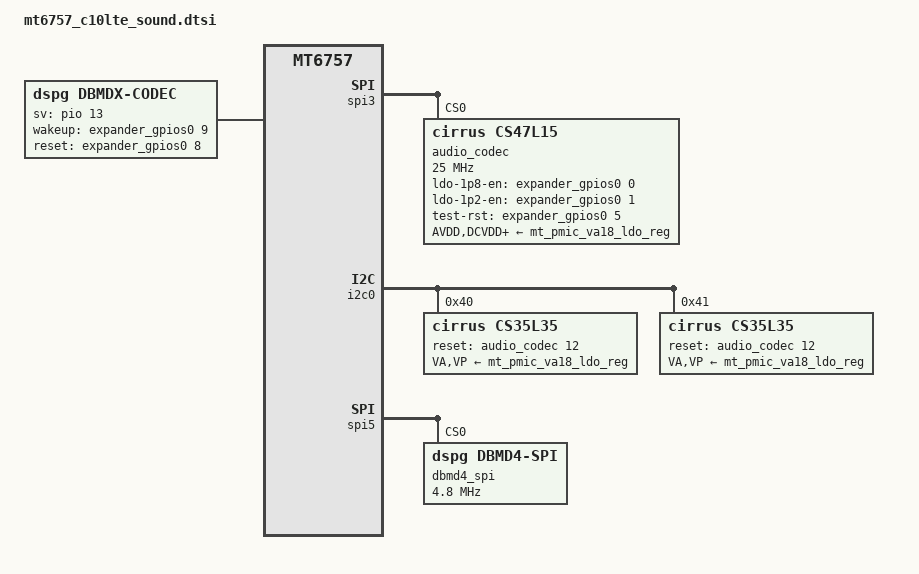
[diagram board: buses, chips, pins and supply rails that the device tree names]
/*
* Cirrus-CS47L15 Sound Card Device Tree Source
*
* Copyright (c) 2016 Cirrus Logic .
*		https://www.cirrus.com
*
* This program is free software; you can redistribute it and/or modify
* it under the terms of the GNU General Public License version 2 as
* published by the Free Software Foundation.
*/

&spi3 {
	/delete-property/ dma-mode;
	/delete-property/ dmas;
	/delete-property/ dma-names;

	#address-cells = <1>;
	#size-cells = <0>;
	status = "okay";

	audio_codec: cs47l15@0 {
		spi-max-frequency = <25000000>;
		compatible = "cirrus,cs47l15";
		reg = <0x00>;

		interrupt-controller;
		interrupt-parent = <&eintc>;
		interrupts = <84 IRQ_TYPE_LEVEL_LOW>;
		debounce = <84 100>;

		gpio-controller;
		#gpio-cells = <2>;
		#sound-dai-cells = <1>;

		ldo-1p8-en-gpios = <&expander_gpios0 0 0>;
		ldo-1p2-en-gpios = <&expander_gpios0 1 0>;
		test-rst-gpios = <&expander_gpios0 5 0>;

		AVDD-supply = <&mt_pmic_va18_ldo_reg>;
		DCVDD-supply = <&mt_pmic_va18_ldo_reg>;
		DBVDD1-supply = <&mt_pmic_va18_ldo_reg>;
		CPVDD1-supply = <&mt_pmic_va18_ldo_reg>;
		CPVDD2-supply = <&mt_pmic_va18_ldo_reg>;
		SPKVDD-supply = <&mt_pmic_va18_ldo_reg>;
		MICVDD-supply = <&mt_pmic_va18_ldo_reg>;

		cirrus,micbias1 = <1800 0 1 1 1 1 1 0>;
		cirrus,dmic-ref = <1 1>;
		cirrus,inmode = <
			2 2 0 0	/* IN1 */
			2 2 0 0	/* IN2 */
		>;

		cirrus,gpio-defaults = <
			0x00002000 0x00006000 /* AIF1TXDAT (GPIO1) */
			0x00002000 0x00006000 /* AIF1RXDAT (GPIO2) */
			0x00002000 0x00006000 /* AIF1BCLK (GPIO3) */
			0x00002000 0x00006000 /* AIF1LRCLK (GPIO4) */
			0x00002000 0x00006000 /* AIF2TXDAT (GPIO5) */
			0x00002000 0x00006000 /* AIF2RXDAT (GPIO6) */
			0x00002000 0x00006000 /* AIF2BCLK (GPIO7) */
			0x00002000 0x00006000 /* AIF2LRCLK (GPIO8) */
			0x00002000 0x00006000 /* AIF3TXDAT (GPIO9) */
			0x00002000 0x00006000 /* AIF3RXDAT (GPIO10) */
			0x00002000 0x00006000 /* AIF3BCLK (GPIO11) */
			0x00002000 0x00006000 /* AIF3LRCLK (GPIO12) */
			0x0000A801 0x00004800 /* SPKTXDAT (GPIO13) - RESET */
			0x00002040 0x00001000 /* SPKCLK (GPIO14)  - OPCLK */
			0x00002001 0x0000c000 /* SPKRXDAT (GPIO15) - Dummy RESET */
		>;

		cirrus,gpsw = <3>;

		cirrus,accdet {
			#address-cells = <1>;
			#size-cells = <0>;

			acc@1 {
				reg = <1>;

				cirrus,micd-bias-start-time = <1>;
				cirrus,micd-rate = <7>;
				cirrus,micd-dbtime=<0x1>;
				cirrus,micd-timeout-ms = <1000>;
				cirrus,micd-force-micbias;

				cirrus,hpdet-short-circuit-imp = <3>;
				cirrus,jd-wake-time = <5000>;
				cirrus,micd-open-circuit-declare = <1>;
				cirrus,micd-detect-debounce-ms = <300>;
				cirrus,hs-mic = <1>;
				cirrus,micd-configs = <1 0 0 0 0>;
				cirrus,micd-ranges = <
					116 226
					173 582
					321 115
					752 114
					1257 217
				>;

				cirrus,micd-clamp-mode = <0x8>;
				cirrus,jd-use-jd2;
				cirrus,micd-software-compare;

				cirrus,moisture-imp = <2000>;
				cirrus,moisture-debounce = <40>;

				cirrus,init-delay-ms = <30>;
			};
		};

		adsps {
			#address-cells = <1>;
			#size-cells = <0>;
			adsp@0FFE00 {
				reg = <0x0FFE00>;
				firmware {
					SPK_PROTECT {
						cirrus,full-name;
						cirrus,wmfw-file = "cs47l15-dsp1-spk-protect.wmfw";
						cirrus,bin-file = "cs47l15-dsp1-spk-protect.bin";
					};
					KARAOKE {
						cirrus,full-name;
						cirrus,wmfw-file = "cs47l15-dsp1-karaoke-vocals.wmfw";
						cirrus,bin-file = "cs47l15-dsp1-karaoke-vocals.bin";
					};
				};
			};
		};
	}; /* audio_codec */
};

&i2c0 {
	cs35l35@40 {
		#sound-dai-cells = <1>;
		compatible = "cirrus,cs35l35";
		reg = <0x40>;

		interrupt-parent = <&eintc>;
		interrupts = <77 0>;
		debounce = <77 100>;

		reset-gpios = <&audio_codec 12 0>;

		VA-supply = <&mt_pmic_va18_ldo_reg>;
		VP-supply = <&mt_pmic_va18_ldo_reg>;

		cirrus,stereo-config;
		cirrus,shared-boost;
		cirrus,audio-channel = <0x0>;
		cirrus,advisory-channel = <0x1>;
		cirrus,boost-ctl-millivolt = <9000>;
		cirrus,boost-peak-milliamp = <4430>;
		cirrus,sp-drv-strength = <0x1>;
		cirrus,sp-drv-unused = <0x0>;

		cirrus,classh-internal-algo {
			cirrus,classh-release-rate = <0x03>;
			cirrus,classh-headroom = <0x8>;
		};

		cirrus,monitor-signal-format {
			cirrus,imon = /bits/ 8 <0x03 0x04 0x00 0x06>;
			cirrus,vmon = /bits/ 8 <0x03 0x00 0x00>;
			cirrus,vpmon = /bits/ 8 <0x00 0x00 0x00>;
			cirrus,vbstmon = /bits/ 8 <0x00 0x00 0x00>;
			cirrus,vpbrstat = /bits/ 8 <0x00 0x00 0x00>;
			cirrus,zerofill = /bits/ 8 <0x00 0x00 0x00>;
		};
	};

	cs35l35@41 {
		#sound-dai-cells = <1>;
		compatible = "cirrus,cs35l35";
		reg = <0x41>;

		interrupt-parent = <&eintc>;
		interrupts = <77 0>;
		debounce = <77 100>;

		reset-gpios = <&audio_codec 12 0>;

		VA-supply = <&mt_pmic_va18_ldo_reg>;
		VP-supply = <&mt_pmic_va18_ldo_reg>;

		cirrus,stereo-config;
		cirrus,shared-boost;
		cirrus,external-boost;
		cirrus,audio-channel = <0x1>;
		cirrus,sp-drv-strength = <0x1>;
		cirrus,sp-drv-unused = <0x0>;

		cirrus,classh-internal-algo {
			cirrus,classh-release-rate = <0x03>;
			cirrus,classh-headroom = <0x8>;
		};

		cirrus,monitor-signal-format {
			cirrus,imon = /bits/ 8 <0x03 0x04 0x01 0x08>;
			cirrus,vmon = /bits/ 8 <0x03 0x00 0x01>;
			cirrus,vpmon = /bits/ 8 <0x00 0x00 0x00>;
			cirrus,vbstmon = /bits/ 8 <0x00 0x00 0x00>;
			cirrus,vpbrstat = /bits/ 8 <0x00 0x00 0x00>;
			cirrus,zerofill = /bits/ 8 <0x00 0x00 0x00>;
		};
	};
};

&spi5 {
	#address-cells = <1>;
	#size-cells = <0>;
	status = "okay";

	dbmd4_spi:dbmd4_interface@0  {
		compatible = "dspg,dbmd4-spi";
		spi-max-frequency = <4800000>;
		reg = <0x0>;

		read-chunk-size  = <0x2000>;    /* 8192 bytes   */
		write-chunk-size = <0x40000>;   /* 262,144 bytes */
		dma_min_buffer_size = <0>;
	};
};

/ {
	audio@11220000 {
		/* name,id,source,rate,valid */
		cirrus,sysclk = <1 4 98304000>;
		/* cirrus,asyncclk = <2 5 90316800>; */
		cirrus,opclk = <3 0 12288000>;
		cirrus,dspclk = <8 4 147456000>;
		cirrus,fll1-refclk = <1 0 24576000>;
		/* cirrus,fll2-refclk = <2 1 32768>; */

		mediatek,audio-routing =
			"IN1AL", "DMIC1",
			"IN1AR", "DMIC2",
			"DMIC1", "MICBIAS1C",
			"DMIC2", "MICBIAS1C",
			"HEADSETMIC", "MICBIAS1A",
			"IN1BL", "HEADSETMIC",
			"HEADPHONE", "HPOUTL",
			"HEADPHONE", "HPOUTR",
			"AIF2 Playback", "OPCLK",
			"AIF2 Capture", "OPCLK",
			"ALWAYS OUTPUT", "ALWAYS MIC",
			"ALWAYS MIC", "MICBIAS1C",
			"SPK", "Left SPK",
			"RCV", "Right SPK";
	};

	dbmdx {
		status = "okay";
		compatible = "dspg,dbmdx-codec";
		sv-gpio = <&pio 13 0>; /* VOICE_INT */
		wakeup-gpio = <&expander_gpios0 9 0>; /* VOICE_WAKE */
		reset-gpio = <&expander_gpios0 8 0>; /* VOICE_RST */
		auto_buffering = <1>;
		multi-interface-support = <1>;
		cd-interfaces = <&dbmd4_spi>;
		va-interfaces = <0 0 0 0>;
		feature-va; /* enable VA */
		va-firmware-name = "dbmd4_va_fw.bin";
		va-config = <0x80000000
			     0x80000000
			     0x80000000
			     0x80290020
			     0x802210E0
			     0x80158E8E
			     0x801b0020
			     0x80230001
			     0x8010401a
			     0x80000000
			     0x80000000
			     0x80000000>;
		va-speeds = <0x0000 460800 0 960000
			     0x0000 2000000 0 960000
			     0x0000 3000000 0 4800000>;
		va-mic-config = <0xf041 0xf053 0x0008>;
		va-mic-mode = <0>;
		master-clk-rate = <32768>;
		/* constant-clk-rate = <32768>; */
		firmware_id = <0xdbd4>;
		use_gpio_for_wakeup = <1>; /* Use wakeup gpio */
		wakeup_set_value = <0>;  /* Value to write to wakeup gpio */
		auto_detection = <1>;
		detection_buffer_channels = <0>;
		min_samples_chunk_size = <128>;
		pcm_streaming_mode = <1>;
		boot_options = <0x200>; /* Verify chip id */
		send_uevent_on_detection = <1>;
		send_uevent_after_buffering = <0>;
		detection_after_buffering = <0>;
		va_backlog_length = <2>;
		amodel_options = <0x1>;
	};

	dbmdx-snd-soc-platform {
		compatible = "dspg,dbmdx-snd-soc-platform";
	};

	snd-dbmdx-mach-drv {
		compatible = "dspg,snd-dbmdx-mach-drv";
	};
};
